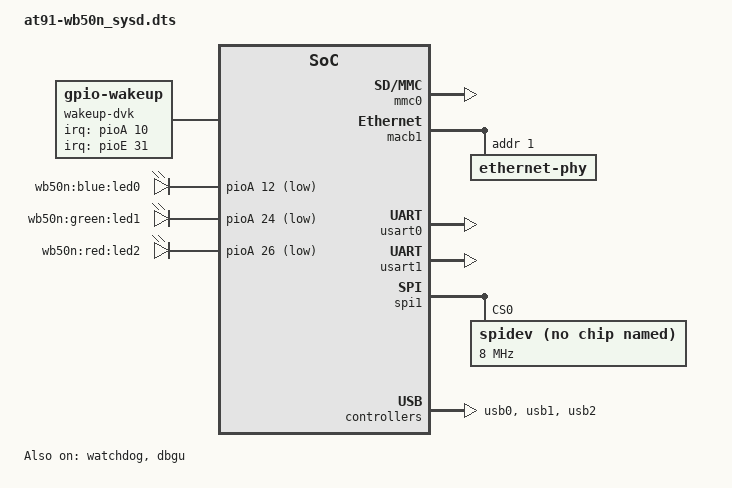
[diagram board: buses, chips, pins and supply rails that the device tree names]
// SPDX-License-Identifier: GPL-2.0
/*
 * at91-wb50n_rdvk.dts - Device Tree file for wb50n_rdvk evaluation board
 *
 *  Copyright (C) 2018 Laird
 *
 */

/dts-v1/;
#include "at91-wb50n_sysd.dtsi"

/ {
	wakeup-dvk {
		pinctrl-names = "default";
		pinctrl-0 = <&pinctrl_wake>;

		compatible = "gpio-wakeup";

		interrupt-names = "ext-wake", "button-wake";
		interrupts-extended = <&pioA 10 IRQ_TYPE_EDGE_FALLING>,
			<&pioE 31 IRQ_TYPE_EDGE_FALLING>;
	};

	leds {
		compatible = "gpio-leds";

		led0 {
			label = "wb50n:blue:led0";
			gpios = <&pioA 12 GPIO_ACTIVE_LOW>;
			default-state = "off";
		};

		led1 {
			label = "wb50n:green:led1";
			gpios = <&pioA 24 GPIO_ACTIVE_LOW>;
			default-state = "off";
		};

		led2 {
			label = "wb50n:red:led2";
			gpios = <&pioA 26 GPIO_ACTIVE_LOW>;
			default-state = "off";
		};
	};
};

&pinctrl {
	board {
		pinctrl_wake: wake {
			atmel,pins =
				<AT91_PIOA 10 AT91_PERIPH_GPIO AT91_PINCTRL_PULL_UP_DEGLITCH>,
				<AT91_PIOE 31 AT91_PERIPH_GPIO AT91_PINCTRL_PULL_UP_DEGLITCH>;
		};
	};
};

&watchdog {
	status = "okay";
};

&mmc0 {
	pinctrl-0 = <&pinctrl_mmc0_clk_cmd_dat0 &pinctrl_mmc0_dat1_3 &pinctrl_mmc0_cd>;
	status = "okay";
};


&macb1 {
	status = "okay";

	ethernet-phy@1 {
		reg = <1>;
	};
};

&dbgu {
	status = "okay";
};

/* On BB40 this port is labeled UART1 */
&usart0 {
	status = "okay";
};

/* On BB40 this port is labeled UART0 */
&usart1 {
	status = "okay";
};

&spi1 {
	status = "okay";

	spidev@0 {
		compatible = "spidev";
		reg = <0>;
		spi-max-frequency = <8000000>;
	};
};

&usb0 {
	status = "okay";
};

&usb1 {
	status = "okay";
};

&usb2 {
	status = "okay";
};
